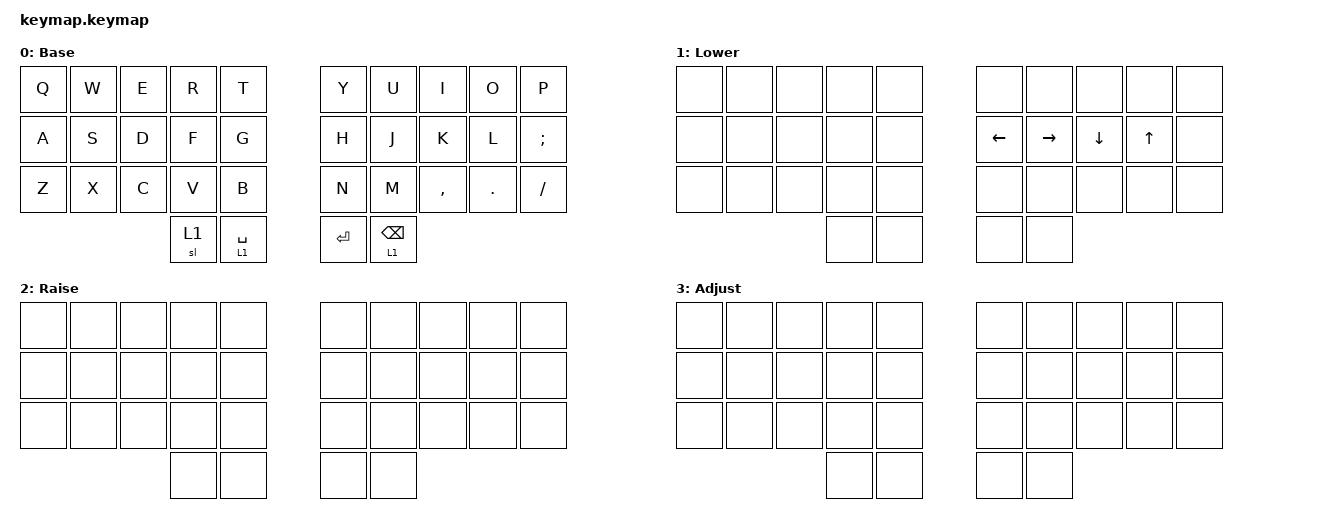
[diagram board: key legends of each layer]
#include <behaviors.dtsi>
#include <dt-bindings/zmk/keys.h>
#include <dt-bindings/zmk/mouse.h>

/ {
    behaviors {
        trackball_mo: trackball_mo {
            compatible = "zmk,input-behavior-listener";
            device = <&trackball_listener>;
            layers = <3>;
            timeout-ms = <500>;
            evt-type = <INPUT_EV_REL>;
            x-input-code = <INPUT_REL_X>;
            y-input-code = <INPUT_REL_Y>;
        };
    };

    keymap {
        compatible = "zmk,keymap";

        layer_0 {
            label = "Base";
            bindings = <
&kp Q  &kp W  &kp E  &kp R  &kp T        &kp Y      &kp U  &kp I      &kp O       &kp P
&kp A  &kp S  &kp D  &kp F  &kp G        &kp H      &kp J  &kp K      &kp L       &kp SEMICOLON
&kp Z  &kp X  &kp C  &kp V  &kp B        &kp N      &kp M  &kp COMMA  &kp PERIOD  &kp SLASH
&sl 1                       &lt 1 SPACE  &kp ENTER                                &lt 1 BACKSPACE
            >;
        };

        layer_1 {
            label = "Lower";
            bindings = <
&none  &none  &none  &none  &none  &none     &none      &none     &none   &none
&none  &none  &none  &none  &none  &kp LEFT  &kp RIGHT  &kp DOWN  &kp UP  &none
&none  &none  &none  &none  &none  &none     &none      &none     &none   &none
&none                       &none  &none                                  &none
            >;
        };

        layer_2 {
            label = "Raise";
            bindings = <
&none  &none  &none  &none  &none  &none  &none  &none  &none  &none
&none  &none  &none  &none  &none  &none  &none  &none  &none  &none
&none  &none  &none  &none  &none  &none  &none  &none  &none  &none
&none                       &none  &none                       &none
            >;
        };

        layer_3 {
            label = "Adjust";
            bindings = <
&none  &none  &none  &none  &none  &none  &none  &none  &none  &none
&none  &none  &none  &none  &none  &none  &none  &none  &none  &none
&none  &none  &none  &none  &none  &none  &none  &none  &none  &none
&none                       &none  &none                       &none
            >;
        };
    };
};
